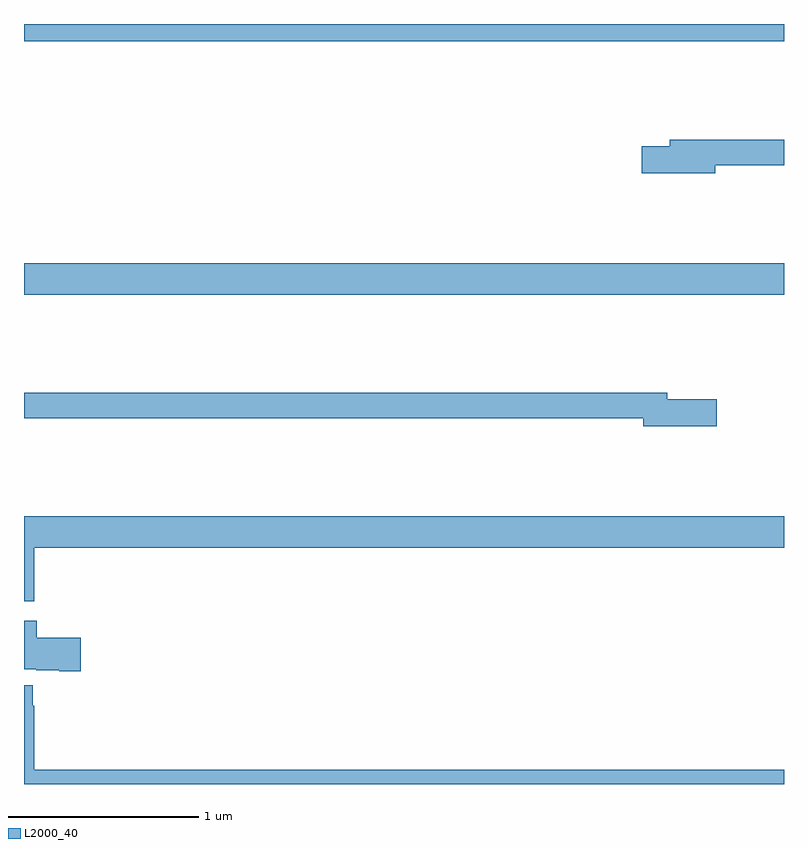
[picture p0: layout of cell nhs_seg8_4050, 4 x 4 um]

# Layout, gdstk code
import gdstk
lib = gdstk.Library(unit=1e-6, precision=1e-09)
def R(c, l, rs):  # rectangles x0, y0, x1, y1
    for r in rs: c.add(gdstk.rectangle(r[:2], r[2:], *l))
def P(c, l, *ps):  # polygons
    for p in ps: c.add(gdstk.Polygon(p, *l))
L2000_40 = (2000, 40)

nhs_seg8_4050 = lib.new_cell('nhs_seg8_4050')
R(nhs_seg8_4050, L2000_40, [(359,1140.476,363,1140.64), (359,1141.808,363,1141.9)])
P(nhs_seg8_4050, L2000_40, [(362.638,1141.156),(363,1141.156),(363,1141.292),(362.399,1141.292),(362.399,1141.256),(362.25,1141.256),(362.25,1141.114),(362.638,1141.114)],
  [(362.647,1139.924),(362.386,1139.924),(362.386,1139.96),(359,1139.96),(359,1139.824),(362.258,1139.824),(362.258,1139.782),(362.647,1139.782)],
  [(359.053,1139.144),(363,1139.144),(363,1139.308),(359,1139.308),(359,1138.863),(359.053,1138.863)],
  [(359.299,1138.671),(359.068,1138.671),(359.068,1138.759),(359,1138.759),(359,1138.505),(359.064,1138.505),(359.064,1138.499),(359.186,1138.499),(359.186,1138.493),(359.299,1138.493)],
  [(363,1137.976),(359.053,1137.976),(359.053,1138.313),(359.045,1138.313),(359.045,1138.42),(359,1138.42),(359,1137.9),(363,1137.9)])

lib.write_gds('nhs_seg8_4050.gds')
